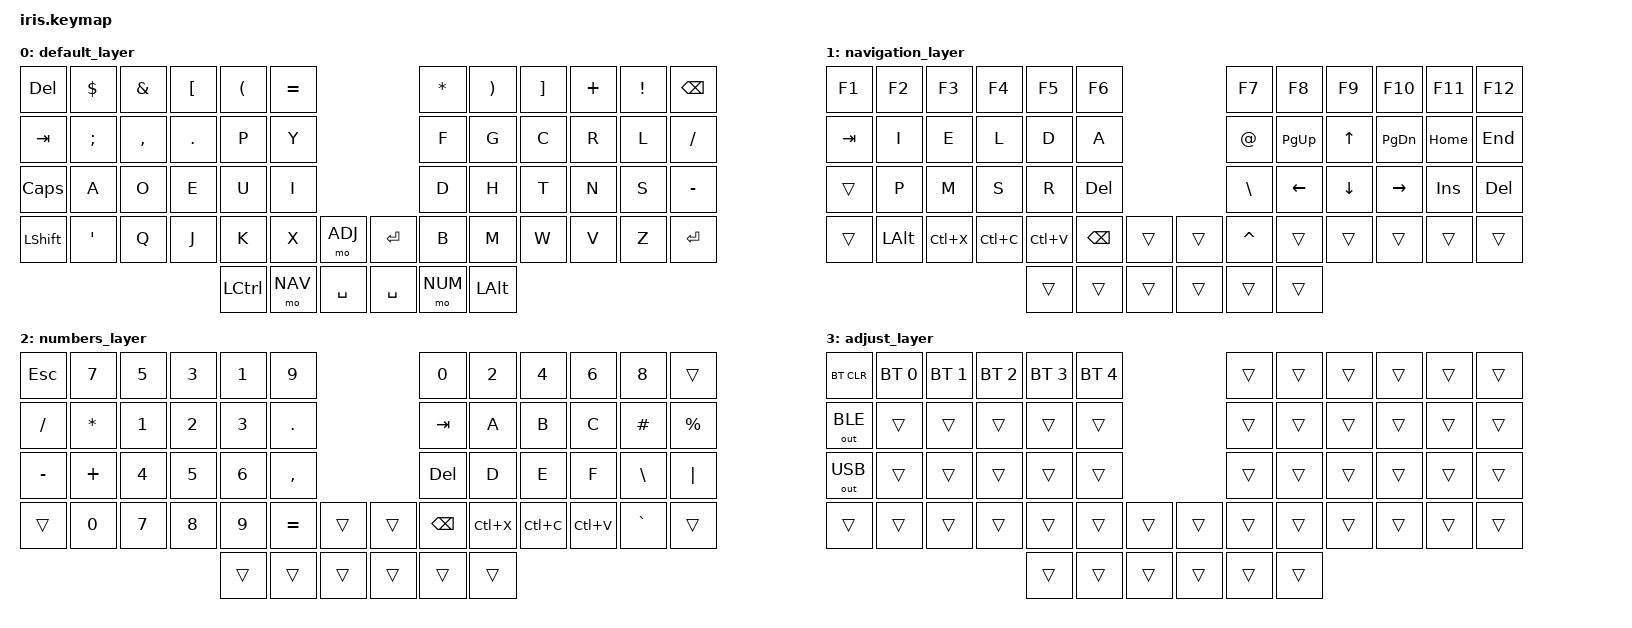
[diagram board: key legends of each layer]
/*
 * Copyright (c) 2020 The ZMK Contributors
 *
 * SPDX-License-Identifier: MIT
 */

#include <behaviors.dtsi>
#include <dt-bindings/zmk/keys.h>
#include <dt-bindings/zmk/bt.h>
#include <dt-bindings/zmk/outputs.h>

#define DEFAULT 0
#define NAV 1
#define NUM 2
#define ADJ 3

/ {
	keymap {
		compatible = "zmk,keymap";

		default_layer {
			bindings = <
&kp DEL   &kp DLLR &kp AMPS  &kp LBKT &kp LPAR  &kp EQUAL                      &kp ASTRK  &kp RPAR &kp RBKT &kp PLUS &kp EXCL &kp BSPC
&kp TAB   &kp SEMI &kp COMMA &kp DOT  &kp P     &kp Y                          &kp F      &kp G    &kp C    &kp R    &kp L  &kp FSLH
&kp CAPS  &kp A    &kp O     &kp E    &kp U     &kp I                          &kp D      &kp H    &kp T    &kp N    &kp S  &kp MINUS
&kp LSHFT &kp SQT  &kp Q     &kp J    &kp K     &kp X   &mo ADJ     &kp RET    &kp B      &kp M    &kp W    &kp V    &kp Z  &kp RET
                                      &kp LCTRL &mo NAV &kp SPACE   &kp SPACE  &mo NUM    &kp LALT
			>;
		};

		navigation_layer {
			bindings = <
&kp F1     &kp F2   &kp F3    &kp F4    &kp F5    &kp F6                       &kp F7    &kp F8    &kp F9   &kp F10   &kp F11  &kp F12
&kp TAB    &kp I    &kp E     &kp L     &kp D     &kp A                        &kp AT    &kp PG_UP &kp UP   &kp PG_DN &kp HOME &kp END
&trans     &kp P    &kp M     &kp S     &kp R     &kp DEL                      &kp BSLH  &kp LEFT  &kp DOWN &kp RIGHT &kp INS  &kp DEL
&trans     &kp LALT &kp LC(X) &kp LC(C) &kp LC(V) &kp BSPC   &trans   &trans   &kp CARET &trans    &trans   &trans    &trans   &trans
                                        &trans     &trans    &trans   &trans   &trans    &trans
			>;
		};

		numbers_layer {
			bindings = <
&kp ESC   &kp N7    &kp N5 &kp N3 &kp N1  &kp N9                       &kp N0   &kp N2    &kp N4    &kp N6    &kp N8    &trans
&kp FSLH  &kp ASTRK &kp N1 &kp N2 &kp N3  &kp DOT                      &kp TAB  &kp A     &kp B     &kp C     &kp HASH  &kp PRCNT
&kp MINUS &kp PLUS  &kp N4 &kp N5 &kp N6  &kp COMMA                    &kp DEL  &kp D     &kp E     &kp F     &kp BSLH  &kp PIPE
&trans    &kp N0    &kp N7 &kp N8 &kp N9  &kp EQUAL &trans    &trans   &kp BSPC &kp LC(X) &kp LC(C) &kp LC(V) &kp GRAVE &trans
                                          &trans    &trans    &trans   &trans   &trans    &trans
			>;
		};

        adjust_layer {
            bindings = <
&bt  BT_CLR  &bt BT_SEL 0 &bt BT_SEL 1 &bt BT_SEL 2 &bt BT_SEL 3 &bt BT_SEL 4                  &trans    &trans    &trans  &trans    &trans    &trans
&out OUT_BLE &trans       &trans       &trans       &trans       &trans                        &trans    &trans    &trans  &trans    &trans    &trans
&out OUT_USB &trans       &trans       &trans       &trans       &trans                        &trans    &trans    &trans  &trans    &trans    &trans
&trans       &trans       &trans       &trans       &trans       &trans    &trans     &trans   &trans    &trans    &trans  &trans    &trans    &trans
                                                    &trans       &trans    &trans     &trans   &trans    &trans
              >;
       };		
	};
};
